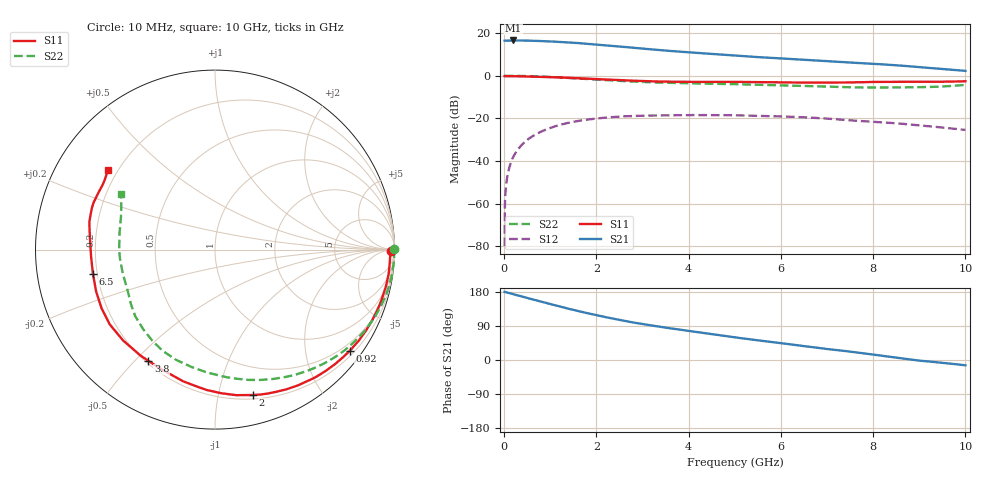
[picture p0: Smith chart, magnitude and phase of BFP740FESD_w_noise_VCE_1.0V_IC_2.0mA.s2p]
! Infineon Technologies  Discrete & RF Semiconductors
! BFP740FESD
! VCE =  1.0 V,  IC =  2.0 mA
! Common Emitter S-Parameters:  Jan 2016
# GHz  S  MA  R  50
!  f  S11  S21  S12  S22
! GHz  MAG  ANG  MAG  ANG  MAG  ANG  MAG  ANG
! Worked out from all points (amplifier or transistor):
!   233 points, 10 MHz to 10 GHz, reference 50 ohm
!   highest |S21| = 16.6 dB at 200 MHz (marker M1)
!   |S21| within 3 dB of that: start of sweep to 2.593 GHz
!   unconditionally stable (mu >= 1): 8.593 GHz to end of sweep
!   at 200 MHz: K = -0.01, MSG = 27.3 dB, |S12| = -38.0 dB
!   at 1.74 GHz: K = 0.12, MSG = 17.9 dB, |S12| = -20.8 dB
!   at 10 GHz: K = 1.59, MAG = 9.3 dB, |S12| = -25.4 dB
!   lowest NFmin = 0.40 dB at 450 MHz
!   S11 on the Smith chart (normalised r, x): 10 MHz: open; 920 MHz: 0.31, -2.96; 2 GHz: 0.23, -1.27; 3.8 GHz: 0.21, -0.55; 6.5 GHz: 0.18, -0.09; 10 GHz: 0.16, +0.32
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0.01  0.9821 -0.4  6.671 179.7  0.0001 115.9  0.996 0.1
0.015  0.9802 -0.6  6.665 179.7  0.0007 88.3  0.9977 -0.3
0.02  0.9783 -0.8  6.659 179.7  0.0013 86.3  0.9995 -0.7
0.04  0.9774 -1.4  6.665 178.8  0.0026 86.1  0.9994 -1.3
0.095  0.9765 -3.8  6.723 177.2  0.006 87.1  0.999 -3.0
0.2  0.9769 -8.1  6.751 173.8  0.0126 84.7  0.9971 -6.3
0.5  0.9653 -20.2  6.689 163.8  0.0312 75.8  0.9835 -15.8
0.92  0.9383 -37.0  6.464 150.3  0.0555 63.5  0.9477 -28.8
1.3  0.9058 -51.5  6.16 138.3  0.0747 52.8  0.9039 -40.5
1.68  0.8671 -65.1  5.774 127.0  0.0897 42.6  0.8538 -51.6
2  0.8372 -75.4  5.407 118.4  0.0993 35.0  0.8146 -60.3
2.4  0.8013 -87.4  4.983 108.2  0.1085 26.2  0.7698 -70.7
2.8  0.7664 -98.7  4.553 98.9  0.1141 18.2  0.7301 -80.3
3.4  0.7322 -112.7  3.988 87.3  0.1177 8.2  0.691 -91.7
3.8  0.7222 -121.0  3.69 80.3  0.119 2.6  0.6739 -98.0
4.5  0.7201 -135.2  3.271 68.1  0.1203 -6.7  0.6515 -109.3
5.1  0.7167 -146.2  2.938 58.2  0.1176 -14.6  0.6308 -118.6
6.5  0.6933 -168.9  2.386 36.6  0.1065 -31.1  0.5791 -140.1
6.8  0.6906 -173.6  2.273 32.2  0.1018 -34.3  0.5655 -144.2
8.4  0.724 161.5  1.797 7.9  0.078 -45.8  0.5321 -175.0
9  0.7228 153.8  1.6 -1.7  0.0687 -49.4  0.5401 170.0
10  0.7437 143.2  1.304 -14.0  0.0536 -50.6  0.609 149.2
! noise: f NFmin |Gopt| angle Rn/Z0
0.45  0.4  0.8  7  0.23
2.4  0.69  0.53  46  0.21
5.5  1  0.56  124  0.11
10  2.12  0.55  -145  0.17
